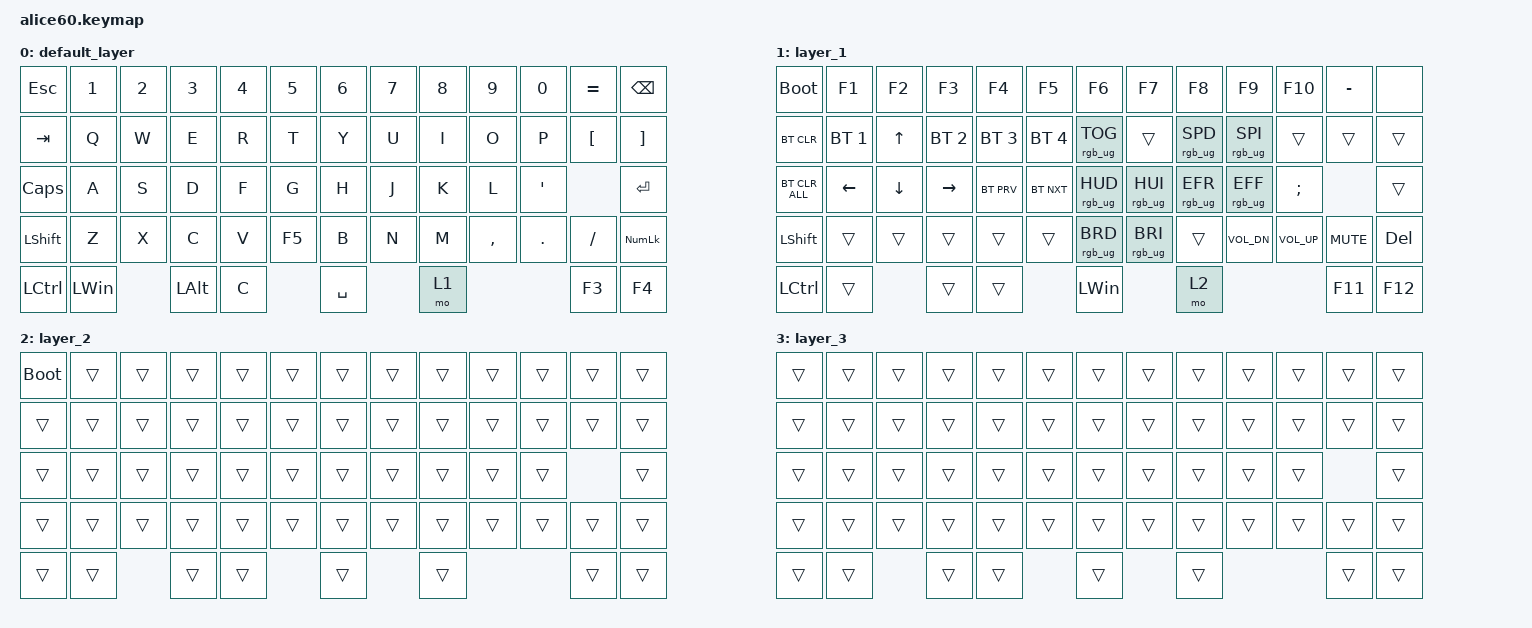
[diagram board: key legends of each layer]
/*
 * Copyright (c) 2020 The ZMK Contributors
 *
 * SPDX-License-Identifier: MIT
 */

#include <behaviors.dtsi>
#include <dt-bindings/zmk/bt.h>
#include <dt-bindings/zmk/keys.h>
#include <dt-bindings/zmk/rgb.h>

/ {
    keymap0: keymap {
        compatible = "zmk,keymap";

        default_layer {
            // | --- |   Q   |   W   |   E   |   R   |   T   |   Y   |   U   |   I   |   O   |   P   |  --- |
            // | --- |   A   |   S   |   D   |   F   |   G   |   H   |   J   |   K   |   L   |  Ent  |  --- |
            // | --- |   Z   |   X   |   C   |   V   |   B   |   N   |   M   | 3,Spc |  Del  |  BS   |  --- |
            // | --- |  ---  |  ---  | LCtrl | MO(1) | LSht  |  LAlt | MO(2) | LWin  |  ---  |  ---  |  --- | 
            // RC(0,0) RC(0,1) RC(0,2) RC(0,3) RC(0,4) RC(0,5) RC(0,6) RC(0,7) RC(0,8) RC(0,9) RC(0,10) RC(0,11) RC(0,12) 
            // RC(1,0) RC(1,1) RC(1,2) RC(1,3) RC(1,4) RC(1,5) RC(1,6) RC(1,7) RC(1,8) RC(1,9) RC(1,10) RC(1,11) RC(1,12) 
            // RC(2,0) RC(2,1) RC(2,2) RC(2,3) RC(2,4) RC(2,5) RC(2,6) RC(2,7) RC(2,8) RC(2,9) RC(2,10)          RC(2,12) 
            // RC(3,0) RC(3,1) RC(3,2) RC(3,3) RC(3,4) RC(3,5) RC(3,6) RC(3,7) RC(3,8) RC(3,9) RC(3,10) RC(3,11) RC(3,12)
            // RC(4,0) RC(4,1)         RC(4,3) RC(4,4)         RC(4,6)         RC(4,8)                  RC(4,11) RC(4,12)

            bindings = <
&kp ESC    &kp N1        &kp N2  &kp N3        &kp N4  &kp N5  &kp N6     &kp N7  &kp N8  &kp N9     &kp N0   &kp EQUAL  &kp BSPC
&kp TAB    &kp Q         &kp W   &kp E         &kp R   &kp T   &kp Y      &kp U   &kp I   &kp O      &kp P    &kp LBKT   &kp RBKT
&kp CAPS   &kp A         &kp S   &kp D         &kp F   &kp G   &kp H      &kp J   &kp K   &kp L      &kp SQT             &kp ENTER
&kp LSHFT  &kp Z         &kp X   &kp C         &kp V   &kp F5  &kp B      &kp N   &kp M   &kp COMMA  &kp DOT  &kp FSLH   &kp KP_NUMLOCK
&kp LCTRL  &kp LEFT_WIN          &kp LEFT_ALT  &kp C           &kp SPACE          &mo 1                       &kp F3     &kp F4
            >;
        };

        layer_1 {
            bindings = <
&bootloader     &kp F1        &kp F2    &kp F3        &kp F4        &kp F5        &kp F6           &kp F7           &kp F8           &kp F9           &kp F10       &kp MINUS   &none
&bt BT_CLR      &bt BT_SEL 1  &kp UP    &bt BT_SEL 2  &bt BT_SEL 3  &bt BT_SEL 4  &rgb_ug RGB_TOG  &trans           &rgb_ug RGB_SPD  &rgb_ug RGB_SPI  &trans        &trans      &trans
&bt BT_CLR_ALL  &kp LEFT      &kp DOWN  &kp RIGHT     &bt BT_PRV    &bt BT_NXT    &rgb_ug RGB_HUD  &rgb_ug RGB_HUI  &rgb_ug RGB_EFR  &rgb_ug RGB_EFF  &kp SEMI                  &trans
&kp LEFT_SHIFT  &trans        &trans    &trans        &trans        &trans        &rgb_ug RGB_BRD  &rgb_ug RGB_BRI  &trans           &kp C_VOL_DN     &kp C_VOL_UP  &kp C_MUTE  &kp DELETE
&kp LCTRL       &trans                  &trans        &trans                      &kp LEFT_WIN                      &mo 2                                           &kp F11     &kp F12
            >;
        };

        layer_2 {
            bindings = <
&bootloader  &trans  &trans  &trans  &trans  &trans  &trans  &trans  &trans  &trans  &trans  &trans  &trans
&trans       &trans  &trans  &trans  &trans  &trans  &trans  &trans  &trans  &trans  &trans  &trans  &trans
&trans       &trans  &trans  &trans  &trans  &trans  &trans  &trans  &trans  &trans  &trans          &trans
&trans       &trans  &trans  &trans  &trans  &trans  &trans  &trans  &trans  &trans  &trans  &trans  &trans
&trans       &trans          &trans  &trans          &trans          &trans                  &trans  &trans
            >;
        };

        layer_3 {
            bindings = <
&trans  &trans  &trans  &trans  &trans  &trans  &trans  &trans  &trans  &trans  &trans  &trans  &trans
&trans  &trans  &trans  &trans  &trans  &trans  &trans  &trans  &trans  &trans  &trans  &trans  &trans
&trans  &trans  &trans  &trans  &trans  &trans  &trans  &trans  &trans  &trans  &trans          &trans
&trans  &trans  &trans  &trans  &trans  &trans  &trans  &trans  &trans  &trans  &trans  &trans  &trans
&trans  &trans          &trans  &trans          &trans          &trans                  &trans  &trans
            >;
        };
    };
};
